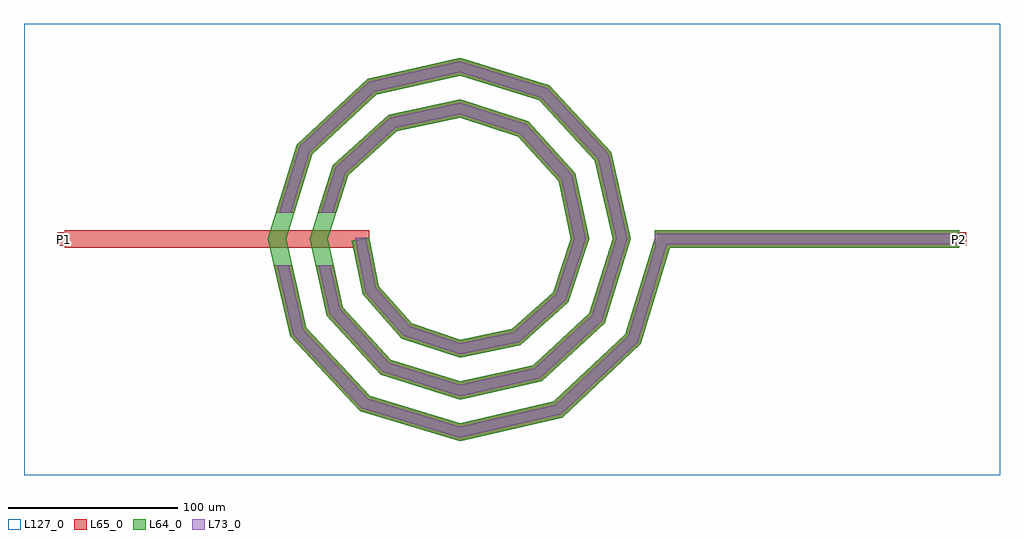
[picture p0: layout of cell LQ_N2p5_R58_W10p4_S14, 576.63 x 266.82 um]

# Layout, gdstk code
import gdstk
lib = gdstk.Library(unit=1e-6, precision=1e-09)
def R(c, l, rs):  # rectangles x0, y0, x1, y1
    for r in rs: c.add(gdstk.rectangle(r[:2], r[2:], *l))
def P(c, l, *ps):  # polygons
    for p in ps: c.add(gdstk.Polygon(p, *l))
L64_0 = (64, 0)
L65_0 = (65, 0)
L73_0 = (73, 0)
L127_0 = (127, 0)

lq_n2p5_r58_w10p4_s14 = lib.new_cell('LQ_N2p5_R58_W10p4_S14')
R(lq_n2p5_r58_w10p4_s14, L64_0, [(115.168,-5.2,295.168,5.2)])
P(lq_n2p5_r58_w10p4_s14, L64_0, [(-47.764,-27.969),(-28.418,-49.879),(0.318,-59.462),(31.026,-53.122),(55.206,-31.528),(65.63,0.291),(58.477,34.088),(34.634,60.537),(0.267,71.799),(-37.154,63.831),(-65.869,37.736),(-77.969,0.248),(-69.183,-40.222),(-40.836,-71.203),(0.231,-84.138),(43.293,-74.534),(76.538,-43.935),(90.308,0.216),(79.884,46.365),(47.031,81.874),(0.203,96.477),(-49.439,85.234),(-87.211,50.127),(-102.647,0.191),(-90.582,-52.514),(-53.221,-92.549),(0.181,-108.817),(55.591,-95.931),(97.888,-56.314),(115.391,1.507),(125.345,-1.507),(107.033,-61.997),(60.664,-105.428),(0.181,-119.579),(-58.92,-101.685),(-100.089,-57.57),(-113.408,0.191),(-96.336,55.844),(-54.475,94.751),(0.203,107.238),(52.77,90.986),(89.414,51.379),(101.067,0.216),(85.635,-49.696),(48.281,-84.077),(0.231,-94.897),(-46.624,-80.283),(-78.741,-45.182),(-88.726,0.248),(-74.93,43.554),(-42.08,73.406),(0.267,82.555),(40.487,69.576),(68.073,38.976),(76.384,0.291),(64.219,-37.422),(35.868,-62.741),(0.318,-70.212),(-34.362,-58.86),(-57.412,-32.755),(-63.766,-1.021),(-53.568,1.021)])
R(lq_n2p5_r58_w10p4_s14, L65_0, [(-233.467,-5.2,-53.467,5.2), (115.168,-5.2,295.168,5.2), (-237.467,-4,-229.467,4), (291.168,-4,299.168,4)])
P(lq_n2p5_r58_w10p4_s14, L65_0, [(-90.582,-52.514),(-53.221,-92.549),(0.181,-108.817),(55.591,-95.931),(97.888,-56.314),(115.391,1.507),(125.345,-1.507),(107.033,-61.997),(60.664,-105.428),(0.181,-119.579),(-58.92,-101.685),(-100.09,-57.57),(-109.767,-15.6),(-99.094,-15.6)],
  [(-69.183,-40.222),(-40.836,-71.203),(0.231,-84.138),(43.293,-74.534),(76.538,-43.935),(90.308,0.216),(79.884,46.365),(47.031,81.874),(0.203,96.477),(-49.439,85.234),(-87.212,50.127),(-97.803,15.6),(-108.681,15.6),(-96.336,55.845),(-54.475,94.751),(0.203,107.238),(52.77,90.986),(89.414,51.379),(101.067,0.216),(85.635,-49.696),(48.282,-84.077),(0.231,-94.897),(-46.624,-80.284),(-78.741,-45.182),(-85.243,-15.6),(-74.595,-15.6)],
  [(-28.418,-49.879),(0.318,-59.462),(31.026,-53.122),(55.206,-31.528),(65.63,0.291),(58.477,34.088),(34.634,60.537),(0.268,71.799),(-37.154,63.831),(-65.869,37.736),(-72.92,15.6),(-83.835,15.6),(-74.93,43.554),(-42.08,73.406),(0.268,82.555),(40.487,69.576),(68.073,38.976),(76.384,0.291),(64.219,-37.423),(35.868,-62.741),(0.318,-70.212),(-34.362,-58.86),(-57.412,-32.755),(-63.766,-1.021),(-53.568,1.021),(-47.764,-27.969)])
R(lq_n2p5_r58_w10p4_s14, L73_0, [(115.168,-3.2,295.168,3.2)])
P(lq_n2p5_r58_w10p4_s14, L73_0, [(-92.411,-53.487),(-54.317,-94.306),(0.111,-110.887),(56.566,-97.757),(99.647,-57.407),(117.305,0.927),(123.431,0.927),(105.275,-60.904),(59.688,-103.602),(0.111,-117.509),(-57.824,-99.928),(-98.261,-56.598),(-107.715,-15.6),(-101.147,-15.6)],
  [(-71.021,-41.176),(-41.949,-72.949),(0.142,-86.207),(44.252,-76.369),(78.288,-45.043),(92.377,0.133),(81.717,47.329),(48.135,83.627),(0.125,98.547),(-50.408,87.064),(-88.966,51.226),(-99.895,15.6),(-106.589,15.6),(-94.581,54.745),(-53.507,92.921),(0.125,105.169),(51.666,89.234),(87.581,50.415),(98.998,0.133),(83.886,-48.588),(47.322,-82.242),(0.142,-92.828),(-45.511,-78.537),(-76.903,-44.228),(-83.195,-15.6),(-76.642,-15.6)],
  [(-29.561,-51.606),(0.196,-61.529),(31.957,-54.972),(56.94,-32.661),(67.698,0.179),(60.322,35.028),(35.759,62.275),(0.165,73.868),(-38.101,65.672),(-67.612,38.855),(-75.019,15.6),(-81.736,15.6),(-73.188,42.436),(-41.133,71.565),(0.165,80.487),(39.361,67.838),(66.228,38.036),(74.316,0.179),(62.486,-36.289),(34.937,-60.892),(0.196,-68.145),(-33.219,-57.133),(-55.557,-31.834),(-61.805,0.628),(-55.529,0.628),(-49.619,-28.889)])
R(lq_n2p5_r58_w10p4_s14, L127_0, [(-257.467,-139.579,319.168,127.238)])
lq_n2p5_r58_w10p4_s14.add(gdstk.Label('P2', (295.168,0), layer=65, texttype=0))
lq_n2p5_r58_w10p4_s14.add(gdstk.Label('P1', (-233.467,0), layer=65, texttype=0))
lq_n2p5_r58_w10p4_s14.add(gdstk.Label('P2', (299.168,0), layer=145, texttype=0))
lq_n2p5_r58_w10p4_s14.add(gdstk.Label('P1', (-237.467,0), layer=145, texttype=0))

lib.write_gds('LQ_N2p5_R58_W10p4_S14.gds')
